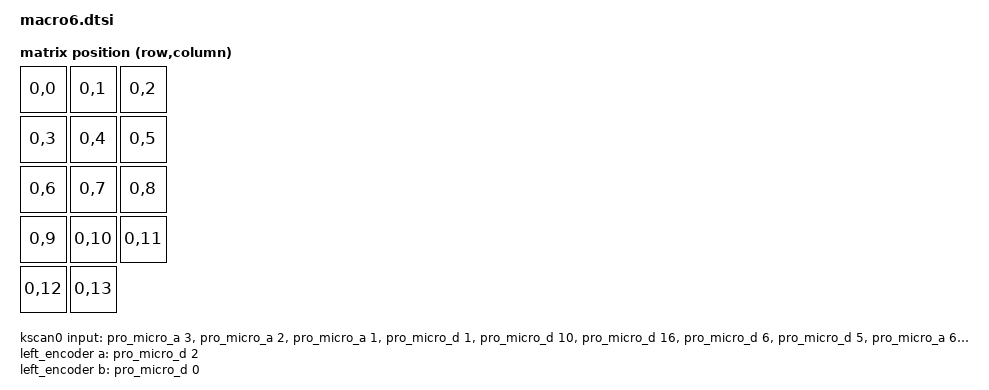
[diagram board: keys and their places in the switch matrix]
/*
 * Copyright (c) 2020 Pete Johanson
 *
 * SPDX-License-Identifier: MIT
 */
 #include <dt-bindings/zmk/matrix-transform.h>
 
/ {
	chosen {
		zmk,kscan = &kscan0;
		zmk,matrix_transform = &default_transform;
	};
		
	default_transform: keymap_transform_0 {
	compatible = "zmk,matrix-transform";
        columns = <14>;
        rows = <1>;
		map = <
RC(0,0) RC(0,1) RC(0,2) 
RC(0,3) RC(0,4) RC(0,5) 
RC(0,6) RC(0,7) RC(0,8) 
RC(0,9) RC(0,10)RC(0,11)
RC(0,12) RC(0,13)		
>;
	};	
	
	kscan0: kscan {
		compatible = "zmk,kscan-gpio-direct";
		label = "KSCAN";
	};
	
	left_encoder: encoder_left {
		compatible = "alps,ec11";
		label = "LEFT_ENCODER";
		a-gpios = <&pro_micro_d 2 (GPIO_ACTIVE_HIGH | GPIO_PULL_UP)>;
		b-gpios = <&pro_micro_d 0 (GPIO_ACTIVE_HIGH | GPIO_PULL_UP)>;
		resolution = <4>;
		status = "disabled";
	};

	sensors {
		compatible = "zmk,keymap-sensors";
		sensors = <&left_encoder>;
	};
	
	
	
};
		
		&kscan0 {
		input-gpios
			= <&pro_micro_a 3 (GPIO_ACTIVE_LOW | GPIO_PULL_UP)>
			, <&pro_micro_a 2 (GPIO_ACTIVE_LOW | GPIO_PULL_UP)>
			, <&pro_micro_a 1 (GPIO_ACTIVE_LOW | GPIO_PULL_UP)>
			, <&pro_micro_d 1 (GPIO_ACTIVE_LOW | GPIO_PULL_UP)>
			, <&pro_micro_d 10 (GPIO_ACTIVE_LOW | GPIO_PULL_UP)>
			, <&pro_micro_d 16 (GPIO_ACTIVE_LOW | GPIO_PULL_UP)>
			, <&pro_micro_d 6 (GPIO_ACTIVE_LOW | GPIO_PULL_UP)>
			, <&pro_micro_d 5 (GPIO_ACTIVE_LOW | GPIO_PULL_UP)> 
			, <&pro_micro_a 6 (GPIO_ACTIVE_LOW | GPIO_PULL_UP)>
			, <&pro_micro_d 9 (GPIO_ACTIVE_LOW | GPIO_PULL_UP)>
			, <&pro_micro_d 8 (GPIO_ACTIVE_LOW | GPIO_PULL_UP)>
    			,<&pro_micro_d 3 (GPIO_ACTIVE_LOW | GPIO_PULL_UP)>
    			,<&pro_micro_d 7 (GPIO_ACTIVE_LOW | GPIO_PULL_UP)>
             		,<&pro_micro_a 0 (GPIO_ACTIVE_LOW | GPIO_PULL_UP)>
          
		;
};
      
